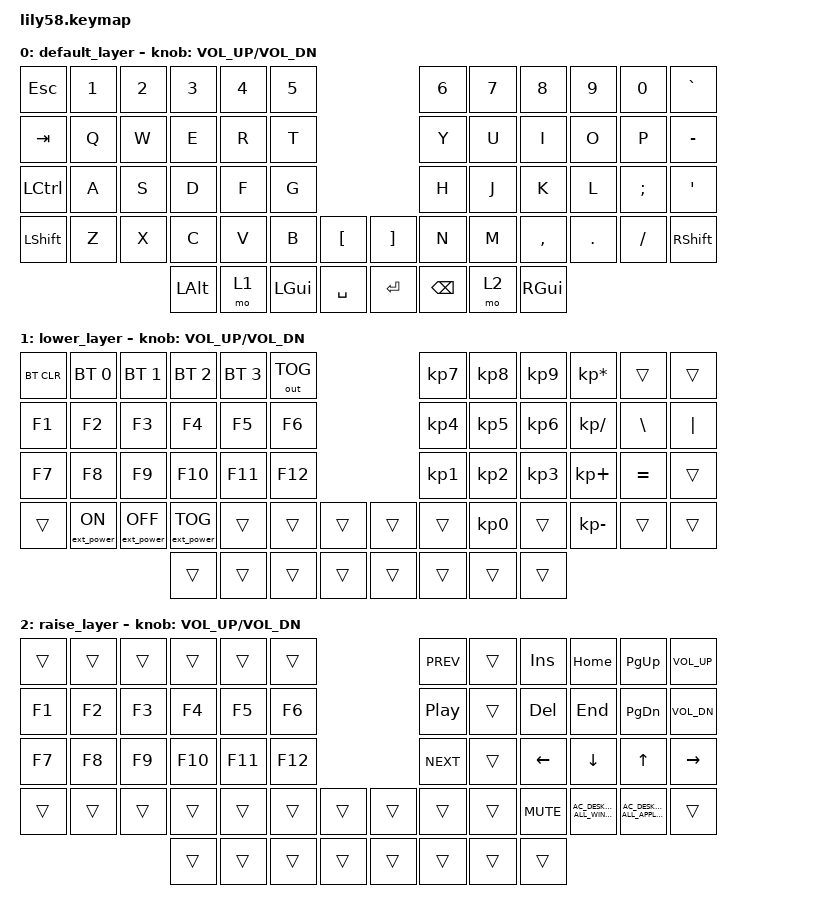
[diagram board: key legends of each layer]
/*
 * Copyright (c) 2020 The ZMK Contributors
 *
 * SPDX-License-Identifier: MIT
 */

#include <behaviors.dtsi>
#include <dt-bindings/zmk/keys.h>
#include <dt-bindings/zmk/bt.h>
#include <dt-bindings/zmk/ext_power.h>
#include <dt-bindings/zmk/outputs.h>

/ {
    keymap {
        compatible = "zmk,keymap";

        default_layer {
// ------------------------------------------------------------------------------------------------------------
// |  ESC  |  1  |  2  |  3   |  4   |  5   |                   |  6   |  7    |  8    |  9   |   0   |   `   |
// |  TAB  |  Q  |  W  |  E   |  R   |  T   |                   |  Y   |  U    |  I    |  O   |   P   |   -   |
// |  CTRL |  A  |  S  |  D   |  F   |  G   |                   |  H   |  J    |  K    |  L   |   ;   |   '   |
// | SHIFT |  Z  |  X  |  C   |  V   |  B   |   "["  |  |  "]"  |  N   |  M    |  ,    |  .   |   /   | SHIFT |
//                     | ALT  | LOWER | GUI |  SPACE |  | ENTER | BSPC | RAISE | GUI   |
            bindings = <
&kp ESC   &kp N1 &kp N2 &kp N3   &kp N4   &kp N5                       &kp N6   &kp N7   &kp N8    &kp N9  &kp N0   &kp GRAVE
&kp TAB   &kp Q  &kp W  &kp E    &kp R    &kp T                        &kp Y    &kp U    &kp I     &kp O   &kp P    &kp MINUS
&kp LCTRL &kp A  &kp S  &kp D    &kp F    &kp G                        &kp H    &kp J    &kp K     &kp L   &kp SEMI &kp SQT
&kp LSHFT &kp Z  &kp X  &kp C    &kp V    &kp B    &kp LBKT   &kp RBKT &kp N    &kp M    &kp COMMA &kp DOT &kp FSLH &kp RSHFT
                        &kp LALT &mo 1    &kp LGUI &kp SPACE  &kp RET  &kp BSPC &mo 2    &kp RGUI
            >;

            sensor-bindings = <&inc_dec_kp C_VOL_UP C_VOL_DN>;
        };

        lower_layer {
// ------------------------------------------------------------------------------------------------------------
// | BTCLR | BT1 | BT2 |  BT3 |  BT4 | OUTTOG |                   |  7   |  8    |  9    |  *   |       |       |
// |  F1   |  F2 |  F3 |  F4  |  F5  |   F6   |                   |  4   |  5    |  6    |  /   |   \   |  "|"  |
// |  F7   |  F8 |  F9 |  F10 |  F11 |   F12  |                   |  1   |  2    |  3    |  +   |   =   |       |
// |       |     |     |      |      |        |        |  |       |      |  0    |       |  -   |       |       |
//                     |      |      |        |        |  |       |      |       |       |
            bindings = <
&bt BT_CLR &bt BT_SEL 0     &bt BT_SEL 1      &bt BT_SEL 2      &bt BT_SEL 3 &out OUT_TOG                       &kp KP_NUMBER_7 &kp KP_NUMBER_8 &kp KP_NUMBER_9 &kp KP_MULTIPLY &trans    &trans
&kp F1     &kp F2           &kp F3            &kp F4            &kp F5       &kp F6                             &kp KP_NUMBER_4 &kp KP_NUMBER_5 &kp KP_NUMBER_6 &kp KP_DIVIDE   &kp BSLH    &kp PIPE
&kp F7     &kp F8           &kp F9            &kp F10           &kp F11      &kp F12                            &kp KP_NUMBER_1 &kp KP_NUMBER_2 &kp KP_NUMBER_3 &kp KP_PLUS     &kp EQUAL &trans
&trans     &ext_power EP_ON &ext_power EP_OFF &ext_power EP_TOG &trans       &trans        &trans    &trans     &trans          &kp KP_NUMBER_0 &trans          &kp KP_MINUS    &trans    &trans
                                              &trans            &trans       &trans        &trans    &trans     &trans          &trans          &trans
            >;

            sensor-bindings = <&inc_dec_kp C_VOL_UP C_VOL_DN>;
        };

        raise_layer {
// ------------------------------------------------------------------------------------------------------------
// |       |     |     |      |      |      |                   | PREV |       |  Inst  |  Home  |  PG_UP |  VolUP |
// |   F1  |  F2 |  F3 |  F4  |  F5  |  F6  |                   |  P/P |       |  Del   |  End   |  PG_DN |  VolDN |
// |   F7  |  F8 |  F9 |  F10 |  F11 |  F12 |                   | Next |       |   <    |   v    |   ^    |    >   |       
// |       |     |     |      |      |      |        |  |       |      |       |  MUTE  |  Wins  |  Apps  |        |
//                     |      |      |      |        |  |       |      |       |        | 
            bindings = <
&trans    &trans &trans &trans  &trans  &trans                       &kp C_PREV  &trans    &kp INS    &kp HOME                           &kp PG_UP                              &kp C_VOL_UP
&kp F1    &kp F2 &kp F3 &kp F4  &kp F5  &kp F6                       &kp C_PP    &trans    &kp DEL    &kp END                            &kp PG_DN                              &kp C_VOL_DN
&kp F7    &kp F8 &kp F9 &kp F10 &kp F11 &kp F12                      &kp C_NEXT  &trans    &kp LEFT   &kp DOWN                           &kp UP                                 &kp RIGHT
&trans    &trans &trans &trans  &trans  &trans    &trans   &trans    &trans      &trans    &kp C_MUTE &kp C_AC_DESKTOP_SHOW_ALL_WINDOWS  &kp C_AC_DESKTOP_SHOW_ALL_APPLICATIONS &trans
                        &trans  &trans  &trans    &trans   &trans    &trans      &trans    &trans
            >;

            sensor-bindings = <&inc_dec_kp C_VOL_UP C_VOL_DN>;
        };
    };
};
